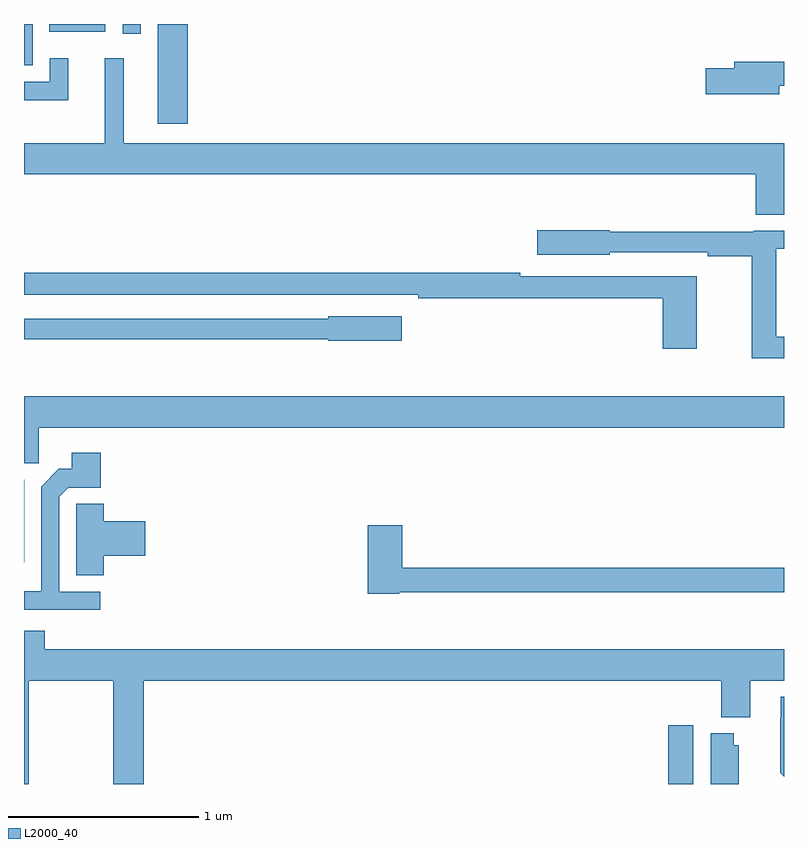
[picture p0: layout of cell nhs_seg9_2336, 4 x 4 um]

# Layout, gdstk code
import gdstk
lib = gdstk.Library(unit=1e-6, precision=1e-09)
def R(c, l, rs):  # rectangles x0, y0, x1, y1
    for r in rs: c.add(gdstk.rectangle(r[:2], r[2:], *l))
def P(c, l, *ps):  # polygons
    for p in ps: c.add(gdstk.Polygon(p, *l))
L2000_40 = (2000, 40)

nhs_seg9_2336 = lib.new_cell('nhs_seg9_2336')
R(nhs_seg9_2336, L2000_40, [(246.392,1238.5,246.523,1238.809), (243,1239.666,243.001,1240.102), (243.704,1241.976,243.863,1242.5), (243,1242.284,243.046,1242.5), (243.519,1242.45,243.615,1242.5), (243.134,1242.458,243.427,1242.5)])
P(nhs_seg9_2336, L2000_40, [(247,1241.872),(243.524,1241.872),(243.524,1242.319),(243.425,1242.319),(243.425,1241.872),(243,1241.872),(243,1241.708),(246.851,1241.708),(246.851,1241.497),(247,1241.497)],
  [(243.233,1242.319),(243.135,1242.319),(243.135,1242.195),(243,1242.195),(243,1242.099),(243.233,1242.099)],
  [(246.976,1242.174),(247,1242.174),(247,1242.302),(246.737,1242.302),(246.737,1242.266),(246.588,1242.266),(246.588,1242.131),(246.976,1242.131)],
  [(247,1240.853),(246.958,1240.853),(246.958,1241.316),(247,1241.316),(247,1241.412),(246.84,1241.412),(246.84,1241.407),(246.084,1241.407),(246.084,1241.415),(245.7,1241.415),(245.7,1241.285),(246.084,1241.285),(246.084,1241.298),(246.598,1241.298),(246.598,1241.278),(246.829,1241.278),(246.829,1240.74),(247,1240.74)],
  [(246.54,1241.172),(245.612,1241.172),(245.612,1241.192),(243,1241.192),(243,1241.076),(245.074,1241.076),(245.074,1241.056),(246.362,1241.056),(246.362,1240.791),(246.54,1240.791)],
  [(244.987,1240.963),(244.602,1240.963),(244.602,1240.95),(243,1240.95),(243,1240.842),(244.602,1240.842),(244.602,1240.834),(244.987,1240.834)],
  [(243.078,1240.376),(247,1240.376),(247,1240.54),(243,1240.54),(243,1240.187),(243.078,1240.187)],
  [(243.4,1239.513),(243.186,1239.513),(243.186,1240.011),(243.234,1240.059),(243.404,1240.059),(243.404,1240.243),(243.251,1240.243),(243.251,1240.158),(243.183,1240.158),(243.09,1240.065),(243.09,1239.514),(243,1239.514),(243,1239.417),(243.4,1239.417)],
  [(243.419,1239.701),(243.637,1239.701),(243.637,1239.884),(243.419,1239.884),(243.419,1239.974),(243.276,1239.974),(243.276,1239.866),(243.275,1239.866),(243.275,1239.598),(243.419,1239.598)],
  [(244.974,1239.51),(247,1239.51),(247,1239.638),(244.991,1239.638),(244.991,1239.862),(244.808,1239.862),(244.808,1239.502),(244.974,1239.502)],
  [(243.024,1239.044),(243.469,1239.044),(243.469,1238.5),(243.629,1238.5),(243.629,1239.044),(246.671,1239.044),(246.671,1238.852),(246.823,1238.852),(246.823,1239.044),(247,1239.044),(247,1239.208),(243.11,1239.208),(243.11,1239.307),(243,1239.307),(243,1238.5),(243.024,1238.5)],
  [(247,1238.959),(246.983,1238.959),(246.983,1238.849),(246.979,1238.849),(246.979,1238.558),(247,1238.537)],
  [(246.763,1238.703),(246.736,1238.703),(246.736,1238.767),(246.614,1238.767),(246.614,1238.5),(246.763,1238.5)])

lib.write_gds('nhs_seg9_2336.gds')
